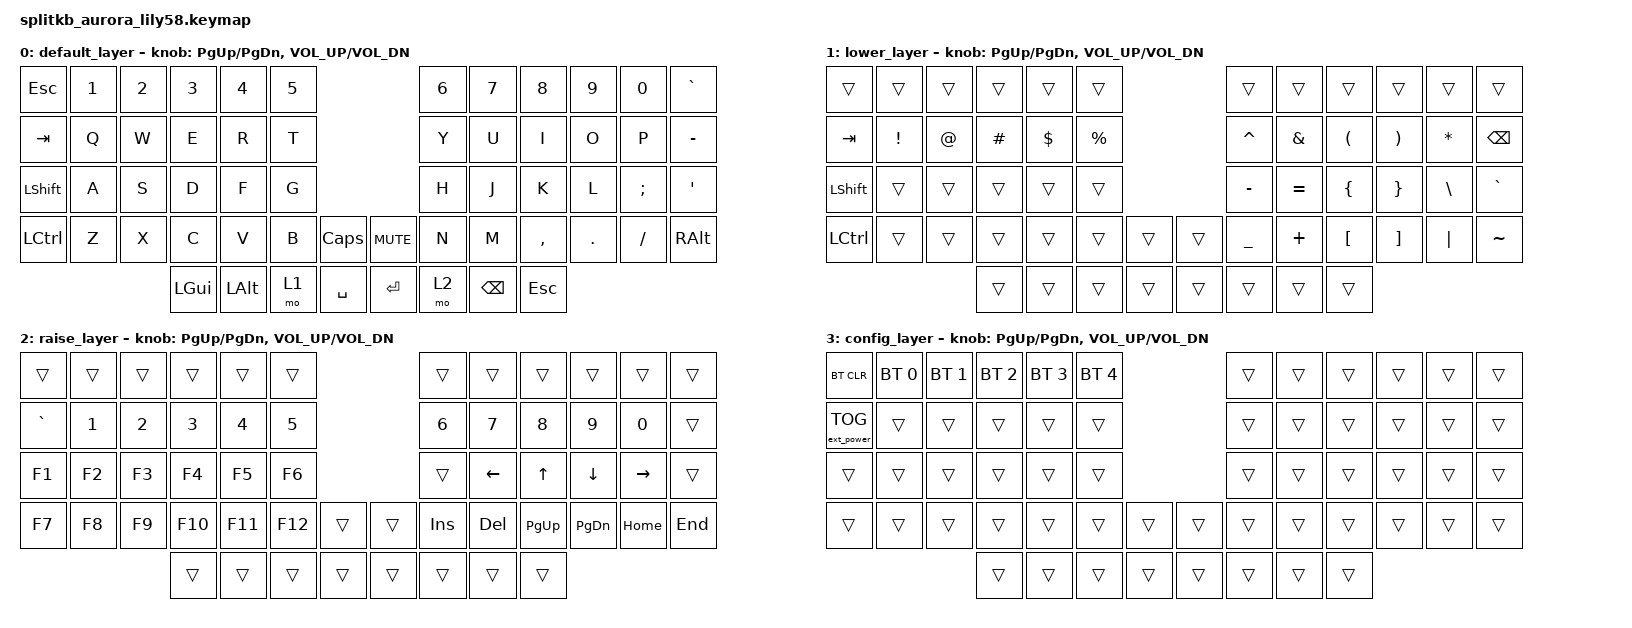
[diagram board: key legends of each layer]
/*
 * Copyright (c) 2022 The ZMK Contributors
 *
 * SPDX-License-Identifier: MIT
 */

#include <behaviors.dtsi>
#include <dt-bindings/zmk/keys.h>
#include <dt-bindings/zmk/bt.h>
#include <dt-bindings/zmk/ext_power.h>

/ {
        conditional_layers {
        compatible = "zmk,conditional-layers";
        tri_layer {
            if-layers = <1 2>;
            then-layer = <3>;
                };
        };


    keymap {
        compatible = "zmk,keymap";

        default_layer {
// ------------------------------------------------------------------------------------------------------------
// |  ESC  |  1  |  2  |  3   |  4   |  5   |                   |  6   |  7    |  8    |  9   |   0   |   `   |
// |  TAB  |  Q  |  W  |  E   |  R   |  T   |                   |  Y   |  U    |  I    |  O   |   P   |   -   |
// |  CTRL |  A  |  S  |  D   |  F   |  G   |                   |  H   |  J    |  K    |  L   |   ;   |   '   |
// | SHIFT |  Z  |  X  |  C   |  V   |  B   |  CAPS  |  |  MUTE |  N   |  M    |  ,    |  .   |   /   |  RALT |
//                     | GUI  | ALT  | LOWER|  SPACE |  | ENTER | RAISE| BSPC  |  ESC  |
            bindings = <
&kp ESC   &kp N1 &kp N2 &kp N3   &kp N4   &kp N5                     &kp N6 &kp N7   &kp N8    &kp N9  &kp N0   &kp GRAVE
&kp TAB   &kp Q  &kp W  &kp E    &kp R    &kp T                      &kp Y  &kp U    &kp I     &kp O   &kp P    &kp MINUS
&kp LSHFT &kp A  &kp S  &kp D    &kp F    &kp G                      &kp H  &kp J    &kp K     &kp L   &kp SEMI &kp SQT
&kp LCTRL &kp Z  &kp X  &kp C    &kp V    &kp B  &kp CAPS   &kp C_MUTE &kp N  &kp M    &kp COMMA &kp DOT &kp FSLH &kp RALT
                        &kp LGUI &kp LALT &mo 1  &kp SPACE  &kp RET  &mo 2  &kp BSPC &kp ESC
            >;

            sensor-bindings = <&inc_dec_kp PG_UP PG_DN &inc_dec_kp C_VOL_UP C_VOL_DN>;
        };

        lower_layer {
// ------------------------------------------------------------------------------------------------------------
// | BTCLR | BT1 | BT2 |  BT3 |  BT4 |  BT5 |                   |      |       |       |      |       |       |
// |   `   |  !  |  @  |  #   |  $   |  %   |                   |  ^   |  &    |   (   |   )  |   *   |  BSPC |
// | SHIFT |     |     |      |      |      |                   |  -   |   =   |   {   |   }  |   \   |   `   |
// | LCTRL |     |     |      |      |      |        |  |       |  _   |   +   |   [   |   ]  |  "|"  |   ~   |
//                     |      |      |      |        |  |       |      |       |       |
            bindings = <
&trans     &trans       &trans &trans   &trans     &trans                         &trans    &trans    &trans    &trans    &trans    &trans
&kp TAB    &kp EXCL     &kp AT &kp HASH &kp DOLLAR &kp PRCNT                      &kp CARET &kp AMPS  &kp LPAR  &kp RPAR  &kp STAR  &kp BSPC
&kp LSHFT  &trans       &trans &trans   &trans     &trans                         &kp MINUS &kp EQUAL &kp LBRC  &kp RBRC  &kp BSLH  &kp GRAVE
&kp LCTRL  &trans       &trans &trans   &trans     &trans    &trans      &trans   &kp UNDER &kp PLUS  &kp LBKT  &kp RBKT  &kp PIPE  &kp TILDE
                        &trans &trans   &trans     &trans    &trans      &trans   &trans    &trans
            >;

            sensor-bindings = <&inc_dec_kp PG_UP PG_DN &inc_dec_kp C_VOL_UP C_VOL_DN>;
        };

        raise_layer {
// ------------------------------------------------------------------------------------------------------------
// |       |     |     |      |      |      |                   |      |       |       |       |       |       |
// |   `   |  1  |  2  |  3   |  4   |  5   |                   |  6   |   7   |   8   |  9    |   0   |       |
// |   F1  |  F2 |  F3 |  F4  |  F5  |  F6  |                   |      |   <-  |   ^   |  v    |  ->   |       |
// |   F7  |  F8 |  F9 |  F10 |  F11 |  F12 |        |  |       |  INS |  DEL  | PG_UP | PG_DN |  HOME |  END  |
//                     |      |      |      |        |  |       |      |       |       |
            bindings = <
&trans    &trans &trans &trans  &trans  &trans                       &trans      &trans    &trans     &trans     &trans    &trans
&kp GRAVE &kp N1 &kp N2 &kp N3  &kp N4  &kp N5                       &kp N6      &kp N7    &kp N8     &kp N9     &kp N0    &trans
&kp F1    &kp F2 &kp F3 &kp F4  &kp F5  &kp F6                       &trans      &kp LEFT  &kp UP     &kp DOWN   &kp RIGHT &trans
&kp F7    &kp F8 &kp F9 &kp F10 &kp F11 &kp F12   &trans   &trans    &kp INS     &kp DEL   &kp PG_UP  &kp PG_DN  &kp HOME  &kp END
                        &trans  &trans  &trans    &trans   &trans    &trans      &trans    &trans
            >;

            sensor-bindings = <&inc_dec_kp PG_UP PG_DN &inc_dec_kp C_VOL_UP C_VOL_DN>;
        };

        config_layer {
// ------------------------------------------------------------------------------------------------------------
// | BTCLR       | BT0 | BT1 |  BT2 |  BT3 |  BT4 |                   |      |       |       |      |       |       |
// |ext_power-TOG|     |     |      |      |      |                   |      |       |       |      |       |       |
// |             |     |     |      |      |      |                   |      |       |       |      |       |       |
// |             |     |     |      |      |      |        |  |       |      |       |       |      |       |       |
//                           |      |      |      |        |  |       |      |       |       |
            bindings = <
&bt BT_CLR          &bt BT_SEL 0     &bt BT_SEL 1      &bt BT_SEL 2    &bt BT_SEL 3   &bt BT_SEL 4                 &trans    &trans    &trans          &trans   &trans   &trans
&ext_power EP_TOG   &trans           &trans            &trans          &trans         &trans                       &trans    &trans    &trans          &trans   &trans   &trans
&trans              &trans           &trans            &trans          &trans         &trans                       &trans    &trans    &trans          &trans   &trans   &trans
&trans              &trans           &trans            &trans          &trans         &trans    &trans   &trans    &trans    &trans    &trans          &trans   &trans   &trans
                                                       &trans          &trans         &trans    &trans   &trans    &trans    &trans    &trans
            >;

            sensor-bindings = <&inc_dec_kp PG_UP PG_DN &inc_dec_kp C_VOL_UP C_VOL_DN>;
        };
    };
};
